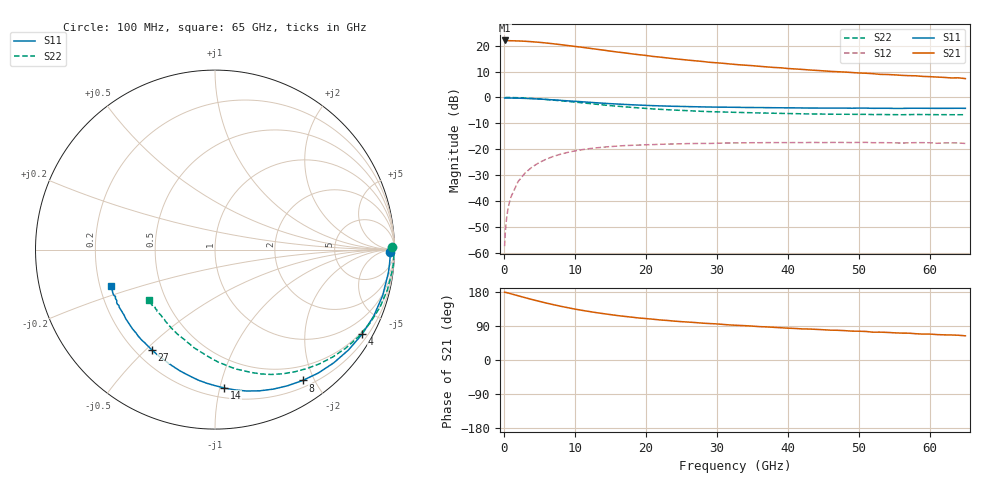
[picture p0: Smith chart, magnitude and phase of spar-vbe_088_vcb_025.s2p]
!ATF-54143
!s-parameters at Vbe=0.88V Last updated 17/05/01 AR.
# HZ S RI R 50
! Freq  S11  S21  S12  S22
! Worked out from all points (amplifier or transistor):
!   74 points, 100 MHz to 65 GHz, reference 50 ohm
!   highest |S21| = 22.0 dB at 100 MHz (marker M1)
!   |S21| within 3 dB of that: start of sweep to 11.98 GHz
!   unconditionally stable (mu >= 1): nowhere
!   at 4 GHz: K = 0.04, MSG = 24.2 dB, |S12| = -26.8 dB
!   at 29 GHz: K = 0.30, MSG = 15.7 dB, |S12| = -17.8 dB
!   at 65 GHz: K = 0.68, MSG = 12.5 dB, |S12| = -17.8 dB
!   S11 on the Smith chart (normalised r, x): 100 MHz: 62, -33; 4 GHz: 0.41, -3.69; 8 GHz: 0.29, -1.84; 14 GHz: 0.27, -1.03; 27 GHz: 0.26, -0.52; 65 GHz: 0.24, -0.16
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1e8  0.9751 -0.0131  -12.63 0.2717  8.93e-06 0.00134  0.9834 0.0145
2e8  0.9761 -0.0262  -12.54 0.3141  -7.79e-06 0.00246  0.9936 -0.00625
4e8  0.9748 -0.0519  -12.5 0.4864  0.000159 0.00481  0.9962 -0.0366
1e9  0.9656 -0.1304  -12.41 1.144  0.00104 0.0119  0.9896 -0.1095
2e9  0.9344 -0.255  -12.16 2.243  0.00409 0.0233  0.9621 -0.2202
3e9  0.8844 -0.3704  -11.73 3.269  0.00881 0.0338  0.9191 -0.3211
4e9  0.8192 -0.4722  -11.16 4.188  0.0149 0.043  0.8633 -0.4098
5e9  0.7436 -0.5593  -10.5 4.971  0.0221 0.0508  0.7992 -0.4857
6e9  0.661 -0.6313  -9.767 5.607  0.0299 0.0572  0.729 -0.5487
8e9  0.4889 -0.729  -8.236 6.483  0.0463 0.0655  0.5822 -0.6365
1e10  0.3248 -0.7773  -6.768 6.927  0.0619 0.0689  0.442 -0.6813
1.1e10  0.2482 -0.7868  -6.125 7.026  0.069 0.0693  0.3769 -0.6919
1.4e10  0.0529 -0.7713  -4.405 6.944  0.0871 0.0662  0.2079 -0.6855
1.6e10  -0.047 -0.7442  -3.451 6.705  0.0963 0.0626  0.1216 -0.6662
1.8e10  -0.129 -0.71  -2.728 6.402  0.1036 0.0582  0.0521 -0.6402
2.2e10  -0.2496 -0.6399  -1.624 5.788  0.1137 0.0504  -0.0523 -0.5869
2.7e10  -0.35 -0.5606  -0.7768 5.041  0.1221 0.041  -0.139 -0.5276
3.3e10  -0.4304 -0.4787  -0.1042 4.294  0.1285 0.0311  -0.2118 -0.4685
4e10  -0.4896 -0.3962  0.3763 3.605  0.1324 0.0195  -0.2673 -0.4089
4.4e10  -0.5126 -0.3559  0.5311 3.29  0.1341 0.0134  -0.2903 -0.3814
5.5e10  -0.5543 -0.2631  0.8571 2.595  0.1326 -0.00058  -0.3362 -0.3212
6.5e10  -0.5816 -0.2032  1.021 2.076  0.1285 -0.0109  -0.3665 -0.2832
